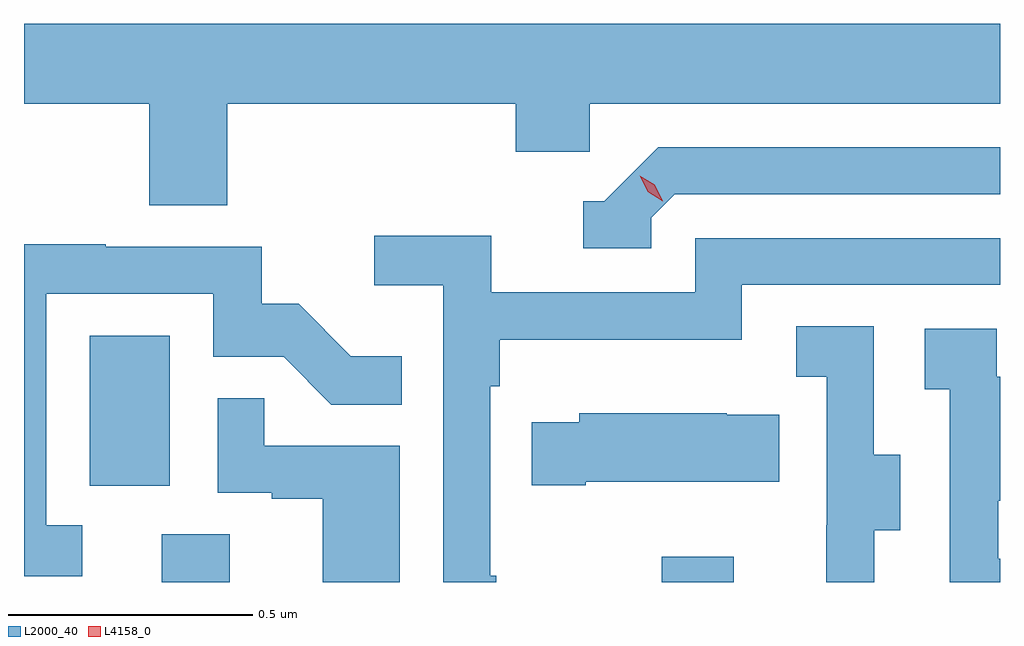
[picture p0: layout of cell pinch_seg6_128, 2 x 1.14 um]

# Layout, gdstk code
import gdstk
lib = gdstk.Library(unit=1e-6, precision=1e-09)
def R(c, l, rs):  # rectangles x0, y0, x1, y1
    for r in rs: c.add(gdstk.rectangle(r[:2], r[2:], *l))
def P(c, l, *ps):  # polygons
    for p in ps: c.add(gdstk.Polygon(p, *l))
L2000_40 = (2000, 40)
L4158_0 = (4158, 0)

pinch_seg6_128 = lib.new_cell('pinch_seg6_128')
R(pinch_seg6_128, L2000_40, [(951.125,926.376,951.265,926.474), (952.15,926.376,952.297,926.428), (950.978,926.574,951.142,926.881)])
P(pinch_seg6_128, L2000_40, [(951.26,927.356),(951.851,927.356),(951.851,927.258),(952.002,927.258),(952.002,927.356),(952.843,927.356),(952.843,927.52),(950.843,927.52),(950.843,927.356),(951.1,927.356),(951.1,927.148),(951.26,927.148)],
  [(952.128,927.123),(952.176,927.171),(952.843,927.171),(952.843,927.267),(952.143,927.267),(952.032,927.156),(951.989,927.156),(951.989,927.06),(952.128,927.06)],
  [(951.811,926.389),(951.798,926.389),(951.798,926.777),(951.818,926.777),(951.818,926.873),(952.314,926.873),(952.314,926.985),(952.843,926.985),(952.843,927.081),(952.218,927.081),(952.218,926.97),(951.8,926.97),(951.8,927.086),(951.561,927.086),(951.561,926.984),(951.702,926.984),(951.702,926.376),(951.811,926.376)],
  [(950.962,926.493),(950.889,926.493),(950.889,926.967),(951.231,926.967),(951.231,926.838),(951.375,926.838),(951.473,926.74),(951.617,926.74),(951.617,926.839),(951.513,926.839),(951.406,926.946),(951.33,926.946),(951.33,927.063),(951.011,927.063),(951.011,927.068),(950.843,927.068),(950.843,926.388),(950.962,926.388)],
  [(952.585,926.482),(952.639,926.482),(952.639,926.637),(952.584,926.637),(952.584,926.9),(952.425,926.9),(952.425,926.797),(952.488,926.797),(952.488,926.493),(952.487,926.493),(952.487,926.376),(952.585,926.376)],
  [(952.843,926.424),(952.839,926.424),(952.839,926.543),(952.843,926.543),(952.843,926.797),(952.836,926.797),(952.836,926.895),(952.689,926.895),(952.689,926.771),(952.74,926.771),(952.74,926.376),(952.843,926.376)],
  [(951.613,926.655),(951.335,926.655),(951.335,926.753),(951.24,926.753),(951.24,926.559),(951.351,926.559),(951.351,926.547),(951.455,926.547),(951.455,926.376),(951.613,926.376)],
  [(951.994,926.582),(952.391,926.582),(952.391,926.719),(952.283,926.719),(952.283,926.722),(951.981,926.722),(951.981,926.704),(951.883,926.704),(951.883,926.575),(951.994,926.575)])
P(pinch_seg6_128, L4158_0, [(952.152,927.157),(952.121,927.176),(952.105,927.209),(952.105,927.209),(952.105,927.209),(952.136,927.19),(952.152,927.157),(952.152,927.157)])

lib.write_gds('pinch_seg6_128.gds')
